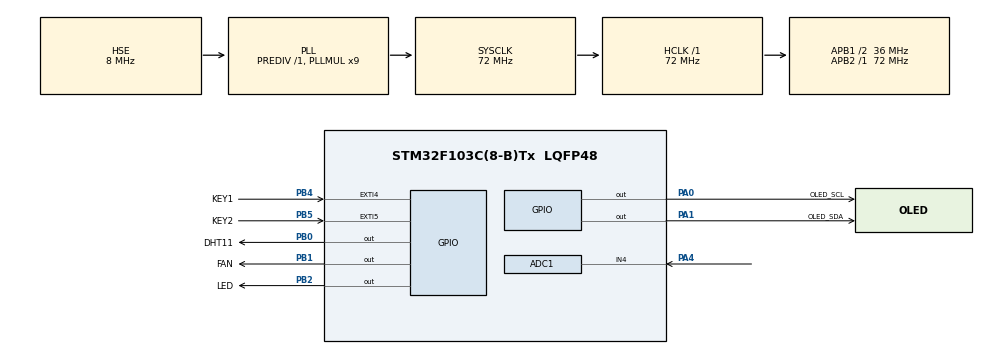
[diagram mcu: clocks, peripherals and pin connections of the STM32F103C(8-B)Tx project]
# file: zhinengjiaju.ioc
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ADC1.Channel-0\#ChannelRegularConversion=ADC_CHANNEL_4
ADC1.NbrOfConversionFlag=1
ADC1.Rank-0\#ChannelRegularConversion=1
ADC1.SamplingTime-0\#ChannelRegularConversion=ADC_SAMPLETIME_1CYCLE_5
ADC1.master=1
Mcu.Family=STM32F1
Mcu.Name=STM32F103C(8-B)Tx
Mcu.Package=LQFP48
NVIC.EXTI4_IRQn=true\:0\:0\:false\:false\:true\:true\:true\:true
NVIC.EXTI9_5_IRQn=true\:0\:0\:false\:false\:true\:true\:true\:true
NVIC.PriorityGroup=NVIC_PRIORITYGROUP_4
PA0-WKUP.GPIO_Label=OLED_SCL
PA0-WKUP.GPIO_ModeDefaultOutputPP=GPIO_MODE_OUTPUT_PP
PA0-WKUP.GPIO_PuPd=GPIO_PULLUP
PA0-WKUP.GPIO_Speed=GPIO_SPEED_FREQ_HIGH
PA0-WKUP.PinState=GPIO_PIN_SET
PA0-WKUP.Signal=GPIO_Output
PA1.GPIO_Label=OLED_SDA
PA1.GPIO_ModeDefaultOutputPP=GPIO_MODE_OUTPUT_PP
PA1.GPIO_PuPd=GPIO_PULLUP
PA1.GPIO_Speed=GPIO_SPEED_FREQ_HIGH
PA1.PinState=GPIO_PIN_SET
PA1.Signal=GPIO_Output
PA13.Mode=Serial_Wire
PA13.Signal=SYS_JTMS-SWDIO
PA14.Mode=Serial_Wire
PA14.Signal=SYS_JTCK-SWCLK
PA4.Signal=ADCx_IN4
PB0.GPIO_Label=DHT11
PB0.GPIO_ModeDefaultOutputPP=GPIO_MODE_OUTPUT_PP
PB0.GPIO_PuPd=GPIO_PULLDOWN
PB0.GPIO_Speed=GPIO_SPEED_FREQ_HIGH
PB0.PinState=GPIO_PIN_SET
PB0.Signal=GPIO_Output
PB1.GPIO_Label=FAN
PB1.GPIO_PuPd=GPIO_PULLDOWN
PB1.GPIO_Speed=GPIO_SPEED_FREQ_HIGH
PB1.PinState=GPIO_PIN_SET
PB1.Signal=GPIO_Output
PB2.GPIO_Label=LED
PB2.GPIO_ModeDefaultOutputPP=GPIO_MODE_OUTPUT_PP
PB2.GPIO_PuPd=GPIO_PULLUP
PB2.GPIO_Speed=GPIO_SPEED_FREQ_HIGH
PB2.PinState=GPIO_PIN_SET
PB2.Signal=GPIO_Output
PB4.GPIO_Label=KEY1
PB4.GPIO_ModeDefaultEXTI=GPIO_MODE_IT_FALLING
PB4.GPIO_PuPd=GPIO_PULLUP
PB4.Signal=GPXTI4
PB5.GPIO_Label=KEY2
PB5.GPIO_ModeDefaultEXTI=GPIO_MODE_IT_FALLING
PB5.GPIO_PuPd=GPIO_PULLUP
PB5.Signal=GPXTI5
PD0-OSC_IN.Mode=HSE-External-Oscillator
PD0-OSC_IN.Signal=RCC_OSC_IN
PD1-OSC_OUT.Mode=HSE-External-Oscillator
PD1-OSC_OUT.Signal=RCC_OSC_OUT
ProjectManager.HeapSize=0x200
ProjectManager.StackSize=0x400
ProjectManager.TargetToolchain=MDK-ARM V5.32
RCC.ADCPresc=RCC_ADCPCLK2_DIV6
RCC.AHBFreq_Value=72000000
RCC.APB1CLKDivider=RCC_HCLK_DIV2
RCC.APB1Freq_Value=36000000
RCC.APB1TimFreq_Value=72000000
RCC.APB2Freq_Value=72000000
RCC.APB2TimFreq_Value=72000000
RCC.HCLKFreq_Value=72000000
RCC.PLLMUL=RCC_PLL_MUL9
RCC.PLLSourceVirtual=RCC_PLLSOURCE_HSE
RCC.SYSCLKFreq_VALUE=72000000
RCC.SYSCLKSource=RCC_SYSCLKSOURCE_PLLCLK
RCC.USBFreq_Value=72000000
SH.ADCx_IN4.0=ADC1_IN4,IN4
board=custom

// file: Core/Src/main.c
/* USER CODE BEGIN Header */
/**
  ******************************************************************************
  * @file           : main.c
  * @brief          : Main program body
  ******************************************************************************
  * @attention
  *
  * Copyright (c) 2025 STMicroelectronics.
  * All rights reserved.
  *
  * This software is licensed under terms that can be found in the LICENSE file
  * in the root directory of this software component.
  * If no LICENSE file comes with this software, it is provided AS-IS.
  *
  ******************************************************************************
  */
/* USER CODE END Header */
#include "main.h"
#include "adc.h"
#include "gpio.h"

/* USER CODE BEGIN Includes */
#include "oled.h"
#include "stdio.h"
#include "DHT11.h"
/* USER CODE END Includes */

void SystemClock_Config(void);

int main(void)
{

  /* USER CODE BEGIN 1 */
  float adcy;
	uint16_t adcx = 0;
	char data_light[4]={0};
  /* USER CODE END 1 */

  /* MCU Configuration--------------------------------------------------------*/

  /* Reset of all peripherals, Initializes the Flash interface and the Systick. */
  HAL_Init();

  /* Configure the system clock */
  SystemClock_Config();

  /* Initialize all configured peripherals */
  MX_GPIO_Init();
  MX_ADC1_Init();
  /* USER CODE BEGIN 2 */
	OLED_Init();
	OLED_ColorTurn(0);//
  OLED_DisplayTurn(1);//
	fan_control(false);
  /* USER CODE END 2 */

  /* Infinite loop */
  while (1)
  {

    /* USER CODE BEGIN 3 */
		HAL_ADC_Start(&hadc1);
		HAL_ADC_PollForConversion(&hadc1,10);
		adcx = (uint16_t)HAL_ADC_GetValue(&hadc1);

		adcy = (float)adcx*3.3/4096;
		sprintf(data_light,"light:%.3f",adcy);
		OLED_ShowString(0,0,(uint8_t*)data_light,16,1);
		OLED_Refresh();

		if(adcy>2)
		{
				led_control(true);
		}
		else
		{
				if(!key1_status)
				{
					 	led_control(false);
				}

		}

		DHT11_READ_DATA();

  }
  /* USER CODE END 3 */
}

void SystemClock_Config(void)
{
  RCC_OscInitTypeDef RCC_OscInitStruct = {0};
  RCC_ClkInitTypeDef RCC_ClkInitStruct = {0};
  RCC_PeriphCLKInitTypeDef PeriphClkInit = {0};

  /** Initializes the RCC Oscillators according to the specified parameters
  * in the RCC_OscInitTypeDef structure.
  */
  RCC_OscInitStruct.OscillatorType = RCC_OSCILLATORTYPE_HSE;
  RCC_OscInitStruct.HSEState = RCC_HSE_ON;
  RCC_OscInitStruct.HSEPredivValue = RCC_HSE_PREDIV_DIV1;
  RCC_OscInitStruct.HSIState = RCC_HSI_ON;
  RCC_OscInitStruct.PLL.PLLState = RCC_PLL_ON;
  RCC_OscInitStruct.PLL.PLLSource = RCC_PLLSOURCE_HSE;
  RCC_OscInitStruct.PLL.PLLMUL = RCC_PLL_MUL9;
  if (HAL_RCC_OscConfig(&RCC_OscInitStruct) != HAL_OK)
  {
    Error_Handler();
  }

  /** Initializes the CPU, AHB and APB buses clocks
  */
  RCC_ClkInitStruct.ClockType = RCC_CLOCKTYPE_HCLK|RCC_CLOCKTYPE_SYSCLK
                              |RCC_CLOCKTYPE_PCLK1|RCC_CLOCKTYPE_PCLK2;
  RCC_ClkInitStruct.SYSCLKSource = RCC_SYSCLKSOURCE_PLLCLK;
  RCC_ClkInitStruct.AHBCLKDivider = RCC_SYSCLK_DIV1;
  RCC_ClkInitStruct.APB1CLKDivider = RCC_HCLK_DIV2;
  RCC_ClkInitStruct.APB2CLKDivider = RCC_HCLK_DIV1;

  if (HAL_RCC_ClockConfig(&RCC_ClkInitStruct, FLASH_LATENCY_2) != HAL_OK)
  {
    Error_Handler();
  }
  PeriphClkInit.PeriphClockSelection = RCC_PERIPHCLK_ADC;
  PeriphClkInit.AdcClockSelection = RCC_ADCPCLK2_DIV6;
  if (HAL_RCCEx_PeriphCLKConfig(&PeriphClkInit) != HAL_OK)
  {
    Error_Handler();
  }
}

void Error_Handler(void)
{
  __disable_irq();
  while (1)
  {
  }
}
